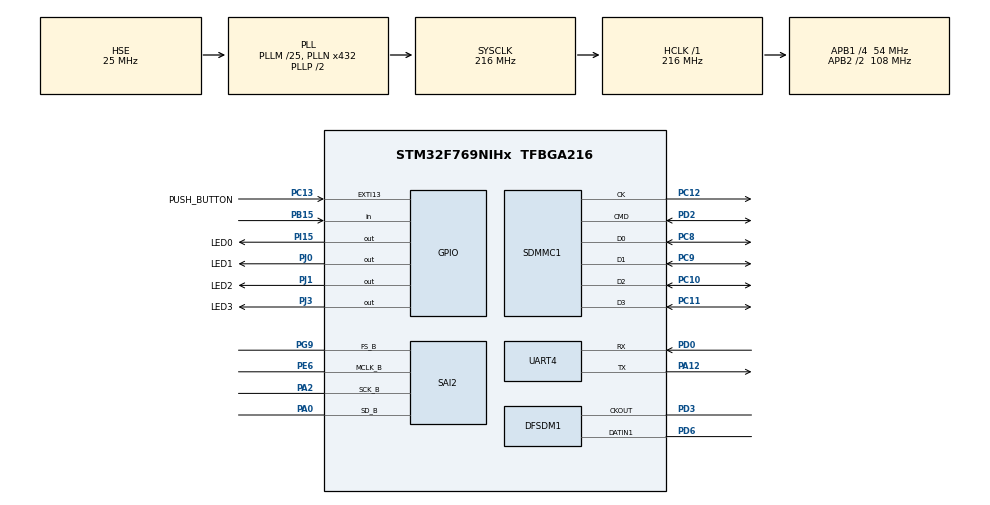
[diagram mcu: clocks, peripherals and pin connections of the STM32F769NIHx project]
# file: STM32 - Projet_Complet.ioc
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ADC1.Channel-3\#ChannelRegularConversion=ADC_CHANNEL_TEMPSENSOR
ADC1.NbrOfConversionFlag=1
ADC1.Rank-3\#ChannelRegularConversion=1
ADC1.SamplingTime-3\#ChannelRegularConversion=ADC_SAMPLETIME_3CYCLES
ADC1.master=1
CORTEX_M7.CPU_DCache=Enabled
CORTEX_M7.CPU_ICache=Enabled
DFSDM1.Divider=4
DFSDM1.DmaMode_reg_FIL0=ENABLE
DFSDM1.DmaMode_reg_FIL1=ENABLE
DFSDM1.FastMode_reg_FIL0=ENABLE
DFSDM1.FastMode_reg_FIL1=ENABLE
DFSDM1.Filter_injChannel0_FIL1=DFSDM_CHANNEL_0
DFSDM1.Filter_injChannel1_FIL0=DFSDM_CHANNEL_1
DFSDM1.Filter_regChannel_FIL0=DFSDM_CHANNEL_1
DFSDM1.Filter_regChannel_FIL1=DFSDM_CHANNEL_1
DFSDM1.Fosr_FIL0=176
DFSDM1.Fosr_FIL1=176
DFSDM1.Oversampling_CH0=1
DFSDM1.Oversampling_CH1=10
DFSDM1.RightBitShift_CH0=0x00
DFSDM1.RightBitShift_CH1=0x02
DFSDM1.ScanMode_inj_FIL1=ENABLE
DFSDM1.Selection=DFSDM_CHANNEL_OUTPUT_CLOCK_AUDIO
DFSDM1.SincOrder_FIL0=DFSDM_FILTER_SINC3_ORDER
DFSDM1.SincOrder_FIL1=DFSDM_FILTER_SINC3_ORDER
DFSDM1.Trigger_reg_FIL1=DFSDM_FILTER_SYNC_TRIGGER
Dma.DFSDM1_FLT0.0.Direction=DMA_PERIPH_TO_MEMORY
Dma.DFSDM1_FLT0.0.FIFOMode=DMA_FIFOMODE_DISABLE
Dma.DFSDM1_FLT0.0.Instance=DMA2_Stream0
Dma.DFSDM1_FLT0.0.MemDataAlignment=DMA_MDATAALIGN_WORD
Dma.DFSDM1_FLT0.0.MemInc=DMA_MINC_ENABLE
Dma.DFSDM1_FLT0.0.Mode=DMA_CIRCULAR
Dma.DFSDM1_FLT0.0.PeriphDataAlignment=DMA_PDATAALIGN_WORD
Dma.DFSDM1_FLT0.0.PeriphInc=DMA_PINC_DISABLE
Dma.DFSDM1_FLT0.0.Priority=DMA_PRIORITY_HIGH
Dma.DFSDM1_FLT1.1.Direction=DMA_PERIPH_TO_MEMORY
Dma.DFSDM1_FLT1.1.FIFOMode=DMA_FIFOMODE_DISABLE
Dma.DFSDM1_FLT1.1.Instance=DMA2_Stream5
Dma.DFSDM1_FLT1.1.MemDataAlignment=DMA_MDATAALIGN_WORD
Dma.DFSDM1_FLT1.1.MemInc=DMA_MINC_ENABLE
Dma.DFSDM1_FLT1.1.Mode=DMA_CIRCULAR
Dma.DFSDM1_FLT1.1.PeriphDataAlignment=DMA_PDATAALIGN_WORD
Dma.DFSDM1_FLT1.1.PeriphInc=DMA_PINC_DISABLE
Dma.DFSDM1_FLT1.1.Priority=DMA_PRIORITY_HIGH
Dma.Request0=DFSDM1_FLT0
Dma.Request1=DFSDM1_FLT1
Dma.Request2=SAI2_B
Dma.Request3=SDMMC1_RX
Dma.Request4=SDMMC1_TX
Dma.SAI2_B.2.Direction=DMA_MEMORY_TO_PERIPH
Dma.SAI2_B.2.FIFOMode=DMA_FIFOMODE_DISABLE
Dma.SAI2_B.2.Instance=DMA2_Stream1
Dma.SAI2_B.2.MemDataAlignment=DMA_MDATAALIGN_HALFWORD
Dma.SAI2_B.2.MemInc=DMA_MINC_ENABLE
Dma.SAI2_B.2.Mode=DMA_CIRCULAR
Dma.SAI2_B.2.PeriphDataAlignment=DMA_PDATAALIGN_HALFWORD
Dma.SAI2_B.2.PeriphInc=DMA_PINC_DISABLE
Dma.SAI2_B.2.Priority=DMA_PRIORITY_HIGH
Dma.SDMMC1_RX.3.Direction=DMA_PERIPH_TO_MEMORY
Dma.SDMMC1_RX.3.FIFOMode=DMA_FIFOMODE_ENABLE
Dma.SDMMC1_RX.3.FIFOThreshold=DMA_FIFO_THRESHOLD_FULL
Dma.SDMMC1_RX.3.Instance=DMA2_Stream6
Dma.SDMMC1_RX.3.MemBurst=DMA_MBURST_INC4
Dma.SDMMC1_RX.3.MemDataAlignment=DMA_MDATAALIGN_WORD
Dma.SDMMC1_RX.3.MemInc=DMA_MINC_ENABLE
Dma.SDMMC1_RX.3.Mode=DMA_PFCTRL
Dma.SDMMC1_RX.3.PeriphBurst=DMA_PBURST_INC4
Dma.SDMMC1_RX.3.PeriphDataAlignment=DMA_PDATAALIGN_WORD
Dma.SDMMC1_RX.3.PeriphInc=DMA_PINC_DISABLE
Dma.SDMMC1_RX.3.Priority=DMA_PRIORITY_LOW
Dma.SDMMC1_TX.4.Direction=DMA_MEMORY_TO_PERIPH
Dma.SDMMC1_TX.4.FIFOMode=DMA_FIFOMODE_ENABLE
Dma.SDMMC1_TX.4.FIFOThreshold=DMA_FIFO_THRESHOLD_FULL
Dma.SDMMC1_TX.4.Instance=DMA2_Stream3
Dma.SDMMC1_TX.4.MemBurst=DMA_MBURST_INC4
Dma.SDMMC1_TX.4.MemDataAlignment=DMA_MDATAALIGN_WORD
Dma.SDMMC1_TX.4.MemInc=DMA_MINC_ENABLE
Dma.SDMMC1_TX.4.Mode=DMA_PFCTRL
Dma.SDMMC1_TX.4.PeriphBurst=DMA_PBURST_INC4
Dma.SDMMC1_TX.4.PeriphDataAlignment=DMA_PDATAALIGN_WORD
Dma.SDMMC1_TX.4.PeriphInc=DMA_PINC_DISABLE
Dma.SDMMC1_TX.4.Priority=DMA_PRIORITY_LOW
FATFS.BSP.number=1
FATFS.USE_DMA_CODE_SD=1
FATFS0.BSP.STBoard=false
FATFS0.BSP.api=Unknown
FATFS0.BSP.instance=PB15
FATFS0.BSP.ip=GPIO
FATFS0.BSP.mode=Input
FATFS0.BSP.name=Detect_SDIO
FATFS0.BSP.solution=PB15
Mcu.Family=STM32F7
Mcu.Name=STM32F769NIHx
Mcu.Package=TFBGA216
NVIC.DMA2_Stream0_IRQn=true\:0\:0\:false\:false\:true\:false\:true\:true
NVIC.DMA2_Stream1_IRQn=true\:0\:0\:false\:false\:true\:false\:true\:true
NVIC.DMA2_Stream3_IRQn=true\:0\:0\:false\:false\:true\:false\:true\:true
NVIC.DMA2_Stream5_IRQn=true\:0\:0\:false\:false\:true\:false\:true\:true
NVIC.DMA2_Stream6_IRQn=true\:0\:0\:false\:false\:true\:false\:true\:true
NVIC.EXTI15_10_IRQn=true\:0\:0\:false\:false\:true\:true\:true\:true
NVIC.PriorityGroup=NVIC_PRIORITYGROUP_4
NVIC.SDMMC1_IRQn=true\:0\:0\:false\:false\:true\:true\:true\:true
PA0/WKUP.GPIO_Speed=GPIO_SPEED_FREQ_VERY_HIGH
PA0/WKUP.Mode=SAI_B_MasterWithClock
PA0/WKUP.Signal=SAI2_SD_B
PA12.Mode=Asynchronous
PA12.Signal=UART4_TX
PA2.GPIO_Speed=GPIO_SPEED_FREQ_VERY_HIGH
PA2.Mode=SAI_B_MasterWithClock
PA2.Signal=SAI2_SCK_B
PB15.Signal=GPIO_Input
PC10.Mode=SD_4_bits_Wide_bus
PC10.Signal=SDMMC1_D2
PC11.Mode=SD_4_bits_Wide_bus
PC11.Signal=SDMMC1_D3
PC12.Mode=SD_4_bits_Wide_bus
PC12.Signal=SDMMC1_CK
PC13.GPIO_Label=PUSH_BUTTON
PC13.Signal=GPXTI13
PC8.Mode=SD_4_bits_Wide_bus
PC8.Signal=SDMMC1_D0
PC9.Mode=SD_4_bits_Wide_bus
PC9.Signal=SDMMC1_D1
PD0.Mode=Asynchronous
PD0.Signal=UART4_RX
PD2.Mode=SD_4_bits_Wide_bus
PD2.Signal=SDMMC1_CMD
PD3.GPIO_PuPd=GPIO_PULLDOWN
PD3.GPIO_Speed=GPIO_SPEED_FREQ_VERY_HIGH
PD3.Signal=S_CKOUTDFSDM1
PD6.GPIO_PuPd=GPIO_PULLDOWN
PD6.GPIO_Speed=GPIO_SPEED_FREQ_VERY_HIGH
PD6.Signal=S_DATAIN1DFSDM1
PE6.GPIO_Speed=GPIO_SPEED_FREQ_VERY_HIGH
PE6.Mode=SAI_B_MasterWithClock
PE6.Signal=SAI2_MCLK_B
PG9.GPIO_Speed=GPIO_SPEED_FREQ_VERY_HIGH
PG9.Mode=SAI_B_MasterWithClock
PG9.Signal=SAI2_FS_B
PH0/OSC_IN.Mode=HSE-External-Oscillator
PH0/OSC_IN.Signal=RCC_OSC_IN
PH1/OSC_OUT.Mode=HSE-External-Oscillator
PH1/OSC_OUT.Signal=RCC_OSC_OUT
PI15.GPIO_Label=LED0
PI15.Signal=GPIO_Output
PJ0.GPIO_Label=LED1
PJ0.Signal=GPIO_Output
PJ1.GPIO_Label=LED2
PJ1.Signal=GPIO_Output
PJ3.GPIO_Label=LED3
PJ3.Signal=GPIO_Output
ProjectManager.HeapSize=0x800
ProjectManager.StackSize=0x800
ProjectManager.TargetToolchain=STM32CubeIDE
RCC.AHBFreq_Value=216000000
RCC.APB1CLKDivider=RCC_HCLK_DIV4
RCC.APB1Freq_Value=54000000
RCC.APB1TimFreq_Value=108000000
RCC.APB2CLKDivider=RCC_HCLK_DIV2
RCC.APB2Freq_Value=108000000
RCC.APB2TimFreq_Value=216000000
RCC.CortexFreq_Value=216000000
RCC.DFSDMAudioSelection=RCC_DFSDM1AUDIOCLKSOURCE_SAI2
RCC.HCLKFreq_Value=216000000
RCC.HSE_VALUE=25000000
RCC.HSI_VALUE=16000000
RCC.LSE_VALUE=32768
RCC.PLLM=25
RCC.PLLN=432
RCC.PLLQ=9
RCC.PLLSAIN=429
RCC.PLLSAIQ=6
RCC.PLLSAIQDiv=6
RCC.PLLSourceVirtual=RCC_PLLSOURCE_HSE
RCC.SAI1CLockSelection=RCC_SAI1CLKSOURCE_PLLSRC
RCC.SDMMCClockSelection=RCC_SDMMC1CLKSOURCE_CLK48
RCC.SYSCLKFreq_VALUE=216000000
RCC.SYSCLKSource=RCC_SYSCLKSOURCE_PLLCLK
RCC.USBFreq_Value=48000000
RCC.VCOOutputFreq_Value=432000000
SAI2.ActiveFrameLength-SAI_B_MasterWithClock=16
SAI2.DataSize-SAI_B_MasterWithClock=SAI_DATASIZE_16
SAI2.ErrorAudioFreq-SAI_B_MasterWithClock=-92.24 %
SAI2.FIFOThreshold-SAI_B_MasterWithClock=SAI_FIFOTHRESHOLD_1QF
SAI2.FSDefinition-SAI_B_MasterWithClock=SAI_FS_CHANNEL_IDENTIFICATION
SAI2.FSOffset-SAI_B_MasterWithClock=SAI_FS_BEFOREFIRSTBIT
SAI2.FrameLength-SAI_B_MasterWithClock=32
SAI2.Instance-SAI_B_MasterWithClock=SAI$Index_Block_B
SAI2.MClockEnable-SAI_B_MasterWithClock=SAI_MASTERCLOCK_ENABLE
SAI2.OutputDrive-SAI_B_MasterWithClock=SAI_OUTPUTDRIVE_ENABLE
SAI2.RealAudioFreq-SAI_B_MasterWithClock=14.895 KHz
SAI2.SlotActive-SAI_B_MasterWithClock=0x00000003
SAI2.SlotNumber-SAI_B_MasterWithClock=2
SAI2.SlotSize-SAI_B_MasterWithClock=SAI_SLOTSIZE_DATASIZE
SAI2.VirtualMode-SAI_B_MasterWithClock=VM_MASTER
SAI2.VirtualSlotActive-SAI_B_MasterWithClock=SAI_SLOT_USERSETTING
SAI2.VirtualSlotActive0-SAI_B_MasterWithClock=true
SAI2.VirtualSlotActive1-SAI_B_MasterWithClock=true
SH.S_CKOUTDFSDM1.0=DFSDM1_CKOUT,PDM_SPI_input_from_ch1_and_internal_clock
SH.S_CKOUTDFSDM1.1=DFSDM1_CKOUT,PDM_SPI_Input_from_ch01_and_Internal_Clock
SH.S_DATAIN1DFSDM1.0=DFSDM1_DATIN1,PDM_SPI_input_from_ch1_and_internal_clock
SH.S_DATAIN1DFSDM1.1=DFSDM1_DATIN1,PDM_SPI_Input_from_ch01_and_Internal_Clock
STMicroelectronics.X-CUBE-AI.7.3.0.ActivationBufferSizeList=283616
STMicroelectronics.X-CUBE-AI.7.3.0.ActivationBuffers=pool0
STMicroelectronics.X-CUBE-AI.7.3.0.ActivationNames=pool0
STMicroelectronics.X-CUBE-AI.7.3.0.ActivationSizes=AI_PHASE_1_DATA_ACTIVATION_1_SIZE
STMicroelectronics.X-CUBE-AI.7.3.0.HeapSize=0x800
STMicroelectronics.X-CUBE-AI.7.3.0.InternalRamActivationBufferMaxSize=AI_PHASE_1_DATA_ACTIVATIONS_SIZE
STMicroelectronics.X-CUBE-AI.7.3.0.LatestDirectoryUsed-d8d236afa5e5916b91605adadd82be7b929e429c9d58953bdbba35f33b84e7b1=/home/felipe/T\u00E9l\u00E9chargements
STMicroelectronics.X-CUBE-AI.7.3.0.MaximumNumberOfInputLayer=1
STMicroelectronics.X-CUBE-AI.7.3.0.MaximumNumberOfOutputLayer=1
STMicroelectronics.X-CUBE-AI.7.3.0.MaximumSizeOfInputLayer=1
STMicroelectronics.X-CUBE-AI.7.3.0.MaximumSizeOfOutputLayer=1
STMicroelectronics.X-CUBE-AI.7.3.0.ModelActualCompression-d8d236afa5e5916b91605adadd82be7b929e429c9d58953bdbba35f33b84e7b1=3.23
STMicroelectronics.X-CUBE-AI.7.3.0.ModelCompression-d8d236afa5e5916b91605adadd82be7b929e429c9d58953bdbba35f33b84e7b1=Low
STMicroelectronics.X-CUBE-AI.7.3.0.ModelFlashOccupation-d8d236afa5e5916b91605adadd82be7b929e429c9d58953bdbba35f33b84e7b1=1459376
STMicroelectronics.X-CUBE-AI.7.3.0.ModelHashList=d8d236afa5e5916b91605adadd82be7b929e429c9d58953bdbba35f33b84e7b1
STMicroelectronics.X-CUBE-AI.7.3.0.ModelKind-d8d236afa5e5916b91605adadd82be7b929e429c9d58953bdbba35f33b84e7b1=TFLITE
STMicroelectronics.X-CUBE-AI.7.3.0.ModelMacc-d8d236afa5e5916b91605adadd82be7b929e429c9d58953bdbba35f33b84e7b1=21032320
STMicroelectronics.X-CUBE-AI.7.3.0.ModelName-d8d236afa5e5916b91605adadd82be7b929e429c9d58953bdbba35f33b84e7b1=phase_1
STMicroelectronics.X-CUBE-AI.7.3.0.ModelNameList=phase_1
STMicroelectronics.X-CUBE-AI.7.3.0.ModelRamOccupation-d8d236afa5e5916b91605adadd82be7b929e429c9d58953bdbba35f33b84e7b1=283616
STMicroelectronics.X-CUBE-AI.7.3.0.ModelStructureFile-d8d236afa5e5916b91605adadd82be7b929e429c9d58953bdbba35f33b84e7b1=/home/felipe/T\u00E9l\u00E9chargements/phase1.tflite
STMicroelectronics.X-CUBE-AI.7.3.0.ModelType-d8d236afa5e5916b91605adadd82be7b929e429c9d58953bdbba35f33b84e7b1=STM32Cube.AI runtime
STMicroelectronics.X-CUBE-AI.7.3.0.ReadyForCodeGeneration=true
STMicroelectronics.X-CUBE-AI.7.3.0.StackSize=0x800
STMicroelectronics.X-CUBE-AI.7.3.0.WorkingBufferStartAddrList=0xFFFFFFFF
STMicroelectronics.X-CUBE-AI.7.3.0.XAaCUBEAaAICcArtificialOoIntelligenceJjCore=true
STMicroelectronics.X-CUBE-AI.7.3.0.copyWeightToRam=false
STMicroelectronics.X-CUBE-AI.7.3.0.copyWeightToRam-d8d236afa5e5916b91605adadd82be7b929e429c9d58953bdbba35f33b84e7b1=false
STMicroelectronics.X-CUBE-AI.7.3.0.customLayerConfigEnabled=false
STMicroelectronics.X-CUBE-AI.7.3.0.customLayerConfigEnabled-d8d236afa5e5916b91605adadd82be7b929e429c9d58953bdbba35f33b84e7b1=false
STMicroelectronics.X-CUBE-AI.7.3.0.outputDirectory=/home/felipe/.stm32cubemx/phase_1_output
STMicroelectronics.X-CUBE-AI.7.3.0.outputDirectory-d8d236afa5e5916b91605adadd82be7b929e429c9d58953bdbba35f33b84e7b1=/home/felipe/.stm32cubemx/phase_1_output
STMicroelectronics.X-CUBE-AI.7.3.0.useInputAllocation=true
STMicroelectronics.X-CUBE-AI.7.3.0.useInputAllocation-d8d236afa5e5916b91605adadd82be7b929e429c9d58953bdbba35f33b84e7b1=true
STMicroelectronics.X-CUBE-AI.7.3.0.useOutputAllocation=true
STMicroelectronics.X-CUBE-AI.7.3.0.useOutputAllocation-d8d236afa5e5916b91605adadd82be7b929e429c9d58953bdbba35f33b84e7b1=true
VP_ADC1_TempSens_Input.Mode=IN-TempSens
VP_CRC_VS_CRC.Mode=CRC_Activate
VP_FATFS_VS_SDIO.Mode=SDIO
VP_RTC_VS_RTC_Activate.Mode=RTC_Enabled
VP_RTC_VS_RTC_Calendar.Mode=RTC_Calendar
VP_STMicroelectronics.X-CUBE-AI_VS_ArtificialOoIntelligenceJjXAaCUBEAaAI_7.3.0.Mode=ArtificialOoIntelligenceJjXAaCUBEAaAI
board=custom

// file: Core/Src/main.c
/* USER CODE BEGIN Header */
/**
  ******************************************************************************
  * @file           : main.c
  * @brief          : Main program body
  ******************************************************************************
  * @attention
  *
  * Copyright (c) 2023 STMicroelectronics.
  * All rights reserved.
  *
  * This software is licensed under terms that can be found in the LICENSE file
  * in the root directory of this software component.
  * If no LICENSE file comes with this software, it is provided AS-IS.
  *
  ******************************************************************************
  */
/* USER CODE END Header */
#include "main.h"
#include "adc.h"
#include "crc.h"
#include "dfsdm.h"
#include "dma.h"
#include "fatfs.h"
#include "rtc.h"
#include "sai.h"
#include "sdmmc.h"
#include "usart.h"
#include "gpio.h"

/* USER CODE BEGIN Includes */

#include "microphone.h"
#include "user_gpio.h"
#include "sd.h"
#include "spectrogram.h"
#include "wav.h"
#include "string.h"
/* USER CODE END Includes */

/* USER CODE BEGIN PV */

int recording;

extern uint32_t spectrogram_output[MEL_SPEC_SIZE];

extern SAI_HandleTypeDef hsai_BlockB2;
extern DMA_HandleTypeDef hdma_sai2_b;

extern WAVE_FormatTypeDef WaveFormat;
extern AUDIO_IN_BufferTypeDef  BufferCtl;
extern uint8_t pHeaderBuff[44];

extern DFSDM_Filter_HandleTypeDef hdfsdm1_filter0;
extern DFSDM_Filter_HandleTypeDef hdfsdm1_filter1;
extern DFSDM_Channel_HandleTypeDef hdfsdm1_channel0;
extern DFSDM_Channel_HandleTypeDef hdfsdm1_channel1;
extern DMA_HandleTypeDef hdma_dfsdm1_flt0;
extern DMA_HandleTypeDef hdma_dfsdm1_flt1;
#define SaturaLH(N, L, H) (((N)<(L))?(L):(((N)>(H))?(H):(N)))
int32_t                      LeftRecBuff[2048];
int32_t                      RightRecBuff[2048];
int16_t                      PlayBuff[4096];
uint32_t                     DmaLeftRecHalfBuffCplt  = 0;
uint32_t                     DmaLeftRecBuffCplt      = 0;
uint32_t                     DmaRightRecHalfBuffCplt = 0;
uint32_t                     DmaRightRecBuffCplt     = 0;
uint32_t                     PlaybackStarted         = 0;

/* USER CODE END PV */

void SystemClock_Config(void);
void PeriphCommonClock_Config(void);

int main(void)
{
  /* USER CODE BEGIN 1 */

	char input_directory[10] = "/wav";
	char file_name[35];
	char directory_name[35];
	char file_path [35];
	FRESULT fr;     /* Return value */
	DIR dj;         /* Directory object */
	FILINFO fno;    /* File information */
  /* USER CODE END 1 */

  /* Enable I-Cache---------------------------------------------------------*/
  SCB_EnableICache();

  /* Enable D-Cache---------------------------------------------------------*/
  SCB_EnableDCache();

  /* MCU Configuration--------------------------------------------------------*/

  /* Reset of all peripherals, Initializes the Flash interface and the Systick. */
  HAL_Init();

  /* Configure the system clock */
  SystemClock_Config();

/* Configure the peripherals common clocks */
  PeriphCommonClock_Config();

  /* Initialize all configured peripherals */
  MX_GPIO_Init();
  MX_DMA_Init();
  MX_DFSDM1_Init();
  MX_SAI2_Init();
  MX_ADC1_Init();
  MX_UART4_Init();
  MX_CRC_Init();
  MX_RTC_Init();
  MX_SDMMC1_SD_Init();
  MX_FATFS_Init();
  /* USER CODE BEGIN 2 */
  /* Start DFSDM conversions */
    if(HAL_OK != HAL_DFSDM_FilterRegularStart_DMA(&hdfsdm1_filter1, RightRecBuff, 2048))
    {
      Error_Handler();
    }
    if(HAL_OK != HAL_DFSDM_FilterRegularStart_DMA(&hdfsdm1_filter0, LeftRecBuff, 2048))
    {
      Error_Handler();
    }

	SDInit();
	 HAL_GPIO_WritePin(LED0_GPIO_Port, LED0_Pin, 1);
	 HAL_GPIO_WritePin(LED1_GPIO_Port, LED1_Pin, 1);
	 HAL_GPIO_WritePin(LED2_GPIO_Port, LED2_Pin, 1);
	 HAL_GPIO_WritePin(LED3_GPIO_Port, LED3_Pin, 1);

	 Preprocessing_Init();
     //opens the directory
	 if (f_chdir(input_directory)!= FR_OK)
	 {
		 Error_Handler();
	 }
	 //gets the first file
	 fr = f_findfirst(&dj, &fno, "", "*.WAV"); /* Start to search for photo files */

  /* USER CODE END 2 */

  /* Infinite loop */
  while (1)
  {

    /* USER CODE BEGIN 3 */

	  //while there are matching results
	  while (fr == FR_OK && fno.fname[0]){
		  //opens wav file
		  openFile(fno.fname);
		  //reads the header file
		  readFile(pHeaderBuff, 44);
		  //gets the size of the audio
		  BufferCtl.fptr = *((uint32_t*) &pHeaderBuff[40]);
		  //reads the audio
		  readFile((uint8_t*)BufferCtl.pcm_buff, BufferCtl.fptr);

		  //////////////////////////////////////
		  //getting the mel spectrogram
		  AudioPreprocessing_RunMethod4(BufferCtl.pcm_buff, (uint32_t*)spectrogram_output, BufferCtl.fptr);
		  //takes off the .wav extension
		  fno.fname[strlen(fno.fname)-4] = 0;
		  //write to the sd card
		  createFile((char*)fno.fname);
		  writeToFile((uint8_t*)spectrogram_output, 4*MEL_SPEC_SIZE);
		  SDclose();
		  //////////////////////////////////////

		  fr = f_findnext(&dj, &fno);               /* Search for next item */
	  }
	  //once it's done, lights up the 4 leds
		 HAL_GPIO_WritePin(LED0_GPIO_Port, LED0_Pin, 0);
		 HAL_GPIO_WritePin(LED1_GPIO_Port, LED1_Pin, 0);
		 HAL_GPIO_WritePin(LED2_GPIO_Port, LED2_Pin, 0);
		 HAL_GPIO_WritePin(LED3_GPIO_Port, LED3_Pin, 0);

  }
  /* USER CODE END 3 */
}

void SystemClock_Config(void)
{
  RCC_OscInitTypeDef RCC_OscInitStruct = {0};
  RCC_ClkInitTypeDef RCC_ClkInitStruct = {0};

  /** Configure the main internal regulator output voltage
  */
  __HAL_RCC_PWR_CLK_ENABLE();
  __HAL_PWR_VOLTAGESCALING_CONFIG(PWR_REGULATOR_VOLTAGE_SCALE1);

  /** Initializes the RCC Oscillators according to the specified parameters
  * in the RCC_OscInitTypeDef structure.
  */
  RCC_OscInitStruct.OscillatorType = RCC_OSCILLATORTYPE_LSI|RCC_OSCILLATORTYPE_HSE;
  RCC_OscInitStruct.HSEState = RCC_HSE_ON;
  RCC_OscInitStruct.LSIState = RCC_LSI_ON;
  RCC_OscInitStruct.PLL.PLLState = RCC_PLL_ON;
  RCC_OscInitStruct.PLL.PLLSource = RCC_PLLSOURCE_HSE;
  RCC_OscInitStruct.PLL.PLLM = 25;
  RCC_OscInitStruct.PLL.PLLN = 432;
  RCC_OscInitStruct.PLL.PLLP = RCC_PLLP_DIV2;
  RCC_OscInitStruct.PLL.PLLQ = 9;
  RCC_OscInitStruct.PLL.PLLR = 2;
  if (HAL_RCC_OscConfig(&RCC_OscInitStruct) != HAL_OK)
  {
    Error_Handler();
  }

  /** Activate the Over-Drive mode
  */
  if (HAL_PWREx_EnableOverDrive() != HAL_OK)
  {
    Error_Handler();
  }

  /** Initializes the CPU, AHB and APB buses clocks
  */
  RCC_ClkInitStruct.ClockType = RCC_CLOCKTYPE_HCLK|RCC_CLOCKTYPE_SYSCLK
                              |RCC_CLOCKTYPE_PCLK1|RCC_CLOCKTYPE_PCLK2;
  RCC_ClkInitStruct.SYSCLKSource = RCC_SYSCLKSOURCE_PLLCLK;
  RCC_ClkInitStruct.AHBCLKDivider = RCC_SYSCLK_DIV1;
  RCC_ClkInitStruct.APB1CLKDivider = RCC_HCLK_DIV4;
  RCC_ClkInitStruct.APB2CLKDivider = RCC_HCLK_DIV2;

  if (HAL_RCC_ClockConfig(&RCC_ClkInitStruct, FLASH_LATENCY_7) != HAL_OK)
  {
    Error_Handler();
  }
}

void PeriphCommonClock_Config(void)
{
  RCC_PeriphCLKInitTypeDef PeriphClkInitStruct = {0};

  /** Initializes the peripherals clock
  */
  PeriphClkInitStruct.PeriphClockSelection = RCC_PERIPHCLK_DFSDM1|RCC_PERIPHCLK_DFSDM1_AUDIO
                              |RCC_PERIPHCLK_SAI2|RCC_PERIPHCLK_CLK48;
  PeriphClkInitStruct.PLLSAI.PLLSAIN = 429;
  PeriphClkInitStruct.PLLSAI.PLLSAIR = 2;
  PeriphClkInitStruct.PLLSAI.PLLSAIQ = 6;
  PeriphClkInitStruct.PLLSAI.PLLSAIP = RCC_PLLSAIP_DIV2;
  PeriphClkInitStruct.PLLSAIDivQ = 6;
  PeriphClkInitStruct.PLLSAIDivR = RCC_PLLSAIDIVR_2;
  PeriphClkInitStruct.Sai2ClockSelection = RCC_SAI2CLKSOURCE_PLLSAI;
  PeriphClkInitStruct.Dfsdm1AudioClockSelection = RCC_DFSDM1AUDIOCLKSOURCE_SAI2;
  PeriphClkInitStruct.Dfsdm1ClockSelection = RCC_DFSDM1CLKSOURCE_PCLK;
  if (HAL_RCCEx_PeriphCLKConfig(&PeriphClkInitStruct) != HAL_OK)
  {
    Error_Handler();
  }
}

void Error_Handler(void)
{
  __disable_irq();
  while (1)
  {
  }
}
